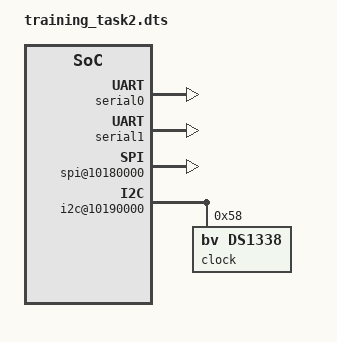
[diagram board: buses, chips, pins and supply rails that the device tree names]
/dts-v1/;
/{
	#address-cells = <1>;
 	#size-cells = <1>;
	cpus
	{
	#address-cells = <1>;
 	#size-cells = <0>;
		cpu@0
		{
			compatible = "arm, cortex-a9";
			reg = <0x0>;
		};

		cpu@1
		{
			compatible = "arm, cortex-a9";
			reg = <0x1>;
		};
	};
	serial0: serial@101B1000
	{
		compatible = "arm, bv011";
		reg = <0x101B1000 0x1000>;
	};
	serial1: serial@101B2000
	{
		compatible = "arm, bv011";
		reg = <0x101B2000 0x1000>;
	};
	gpios: gpio@101B3000
	{
		compatible = "arm, bv061";
		reg = <0x101B3000 0x1000>;
	};
	spi@10180000
	{
		compatible = "arm, bv022";
		reg = <0x10180000 0x1000>;
	};
	i2c@10190000
	{
		compatible = "bv, bv-i2c-bus";
		reg = <0x1019000 0x10>;
		#address-cells = <1>;
 		#size-cells = <0>;
		clock@1101000
		{
			compatible = "bv, ds1338";
			reg = <0x58>;
		};
	};
};
